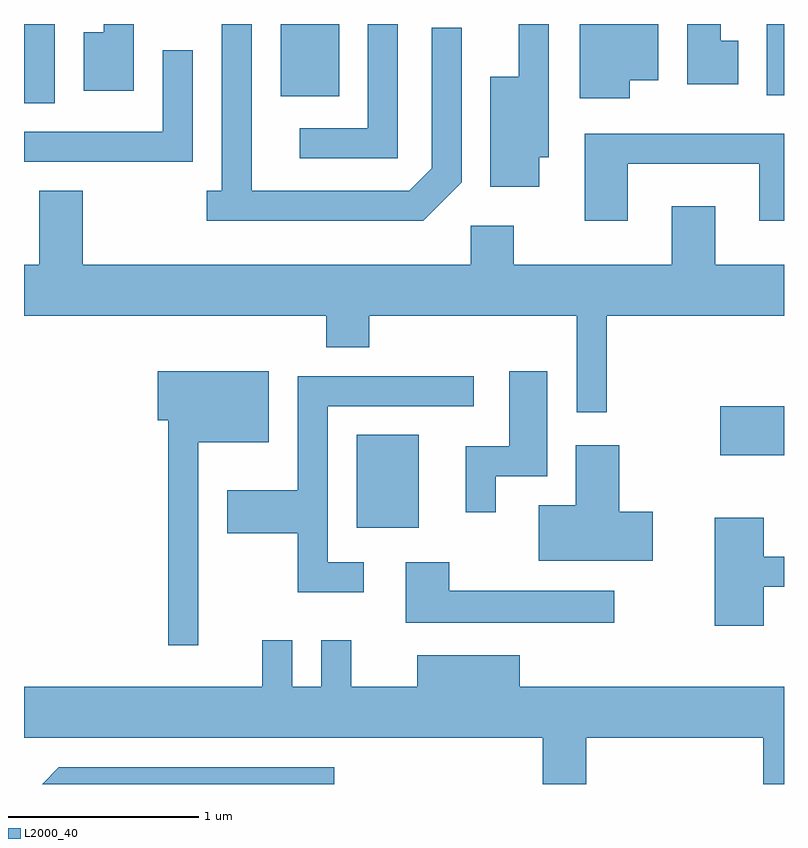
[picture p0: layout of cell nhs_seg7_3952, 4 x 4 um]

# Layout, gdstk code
import gdstk
lib = gdstk.Library(unit=1e-6, precision=1e-09)
def R(c, l, rs):  # rectangles x0, y0, x1, y1
    for r in rs: c.add(gdstk.rectangle(r[:2], r[2:], *l))
def P(c, l, *ps):  # polygons
    for p in ps: c.add(gdstk.Polygon(p, *l))
L2000_40 = (2000, 40)

nhs_seg7_3952 = lib.new_cell('nhs_seg7_3952')
R(nhs_seg7_3952, L2000_40, [(307.361,1757.601,307.689,1758.089), (309.276,1757.981,309.611,1758.239), (305.611,1759.836,305.774,1760.252), (306.961,1759.871,307.269,1760.252), (309.521,1759.876,309.611,1760.252)])
P(nhs_seg7_3952, L2000_40, [(308.324,1759.551),(308.374,1759.551),(308.374,1760.252),(308.216,1760.252),(308.216,1759.974),(308.066,1759.974),(308.066,1759.396),(308.324,1759.396)],
  [(307.914,1759.419),(307.914,1760.233),(307.756,1760.233),(307.756,1759.492),(307.639,1759.374),(306.809,1759.374),(306.809,1760.252),(306.651,1760.252),(306.651,1759.374),(306.573,1759.374),(306.573,1759.216),(307.712,1759.216)],
  [(308.799,1759.956),(308.949,1759.956),(308.949,1760.252),(308.536,1760.252),(308.536,1759.861),(308.799,1759.861)],
  [(307.579,1760.252),(307.421,1760.252),(307.421,1759.704),(307.063,1759.704),(307.063,1759.546),(307.579,1759.546)],
  [(309.369,1760.164),(309.279,1760.164),(309.279,1760.252),(309.101,1760.252),(309.101,1759.936),(309.369,1759.936)],
  [(306.189,1760.252),(306.031,1760.252),(306.031,1760.209),(305.926,1760.209),(305.926,1759.901),(306.189,1759.901)],
  [(306.499,1760.113),(306.341,1760.113),(306.341,1759.684),(305.611,1759.684),(305.611,1759.526),(306.499,1759.526)],
  [(308.789,1759.516),(309.481,1759.516),(309.481,1759.216),(309.611,1759.216),(309.611,1759.674),(308.561,1759.674),(308.561,1759.216),(308.789,1759.216)],
  [(308.679,1758.716),(309.611,1758.716),(309.611,1758.984),(309.249,1758.984),(309.249,1759.294),(309.021,1759.294),(309.021,1758.984),(308.189,1758.984),(308.189,1759.189),(307.961,1759.189),(307.961,1758.984),(305.919,1758.984),(305.919,1759.374),(305.691,1759.374),(305.691,1758.984),(305.611,1758.984),(305.611,1758.716),(307.201,1758.716),(307.201,1758.551),(307.429,1758.551),(307.429,1758.716),(308.521,1758.716),(308.521,1758.208),(308.679,1758.208)],
  [(306.529,1758.051),(306.899,1758.051),(306.899,1758.424),(306.316,1758.424),(306.316,1758.166),(306.371,1758.166),(306.371,1756.983),(306.529,1756.983)],
  [(308.094,1757.871),(308.364,1757.871),(308.364,1758.424),(308.166,1758.424),(308.166,1758.029),(307.936,1758.029),(307.936,1757.683),(308.094,1757.683)],
  [(307.398,1757.419),(307.209,1757.419),(307.209,1758.241),(307.978,1758.241),(307.978,1758.399),(307.051,1758.399),(307.051,1757.799),(306.681,1757.799),(306.681,1757.571),(307.051,1757.571),(307.051,1757.261),(307.398,1757.261)],
  [(308.919,1757.684),(308.744,1757.684),(308.744,1758.034),(308.516,1758.034),(308.516,1757.719),(308.321,1757.719),(308.321,1757.426),(308.919,1757.426)],
  [(309.504,1757.291),(309.611,1757.291),(309.611,1757.449),(309.504,1757.449),(309.504,1757.654),(309.246,1757.654),(309.246,1757.086),(309.504,1757.086)],
  [(308.718,1757.269),(307.849,1757.269),(307.849,1757.419),(307.621,1757.419),(307.621,1757.101),(308.718,1757.101)],
  [(308.569,1756.496),(309.501,1756.496),(309.501,1756.252),(309.611,1756.252),(309.611,1756.764),(308.219,1756.764),(308.219,1756.929),(307.681,1756.929),(307.681,1756.764),(307.334,1756.764),(307.334,1757.008),(307.176,1757.008),(307.176,1756.764),(307.024,1756.764),(307.024,1757.008),(306.866,1757.008),(306.866,1756.764),(305.611,1756.764),(305.611,1756.496),(308.341,1756.496),(308.341,1756.252),(308.569,1756.252)],
  [(307.244,1756.339),(305.794,1756.339),(305.707,1756.252),(307.244,1756.252)])

lib.write_gds('nhs_seg7_3952.gds')
